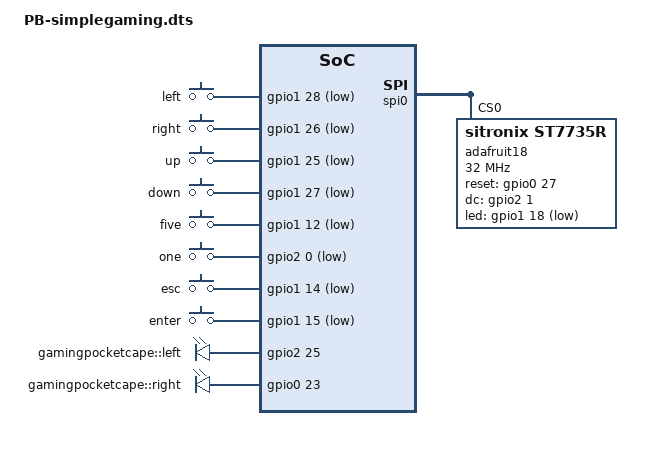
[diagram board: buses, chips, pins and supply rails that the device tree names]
/*
 * Copyright (C) 2012 Texas Instruments Incorporated - http://www.ti.com/
 *
 * This program is free software; you can redistribute it and/or modify
 * it under the terms of the GNU General Public License version 2 as
 * published by the Free Software Foundation.
 */
/dts-v1/;
/plugin/;

#include <dt-bindings/board/am335x-pb-base.h>
#include <dt-bindings/gpio/gpio.h>
#include <dt-bindings/pinctrl/am33xx.h>
#include <dt-bindings/interrupt-controller/irq.h>

/ {
	/*
	 * Free up the pins used by the cape from the pinmux helpers.
	 */
	fragment@0 {
		target = <&ocp>;
		__overlay__ {
			P1_04_pinmux { status = "disabled"; };	/* LEDs - left */
			P1_08_pinmux { status = "disabled"; };	/* LCD - SCLK */
			P1_10_pinmux { status = "disabled"; };	/* LCD - MOSI? */
			P1_12_pinmux { status = "disabled"; };	/* LCD - MISO? */
			P2_01_pinmux { status = "disabled"; };	/* LCD - LED */
			P2_02_pinmux { status = "disabled"; };	/* keys - down */
			P2_03_pinmux { status = "disabled"; };	/* LEDs - right */
			P2_04_pinmux { status = "disabled"; };	/* keys - right */
			P2_06_pinmux { status = "disabled"; };	/* keys - up */
	 		P2_08_pinmux { status = "disabled"; };	/* keys - left */
			P2_17_pinmux { status = "disabled"; };	/* LCD - DC */
			P2_18_pinmux { status = "disabled"; };	/* keys - enter */
			P2_19_pinmux { status = "disabled"; };	/* LCD - RST */
			P2_20_pinmux { status = "disabled"; };	/* keys - one */
			P2_22_pinmux { status = "disabled"; };	/* keys - esc */
			P2_24_pinmux { status = "disabled"; };	/* keys - five */
		};
	};

	/*
	 * Free up the SPI port used by the cape and reallocate it for the LCD.
	 */
	fragment@1 {
		target = <&spi0>;
		__overlay__ {
			status = "okay";

			channel@0 {
				status = "disabled";
			};
			channel@1 {
				status = "disabled";
			};

			adafruit18: adafruit18@0{
				compatible = "sitronix,st7735r";
				pinctrl-names = "default";
				pinctrl-0 = <
					&P1_06_spi_cs_pin 	/* CS */
					&P1_08_spi_sclk_pin 	/* SCLK */
					&P1_10_spi_pin 		/* D0 (MOSI?) */
					&P1_12_spi_pin 		/* D1 (MISO?) */
					&P2_19_gpio_pin		/* RST */
					&P2_17_gpio_pin		/* DC */
					&P2_01_gpio_pin		/* LED */
				>;
				reg = <0>;
				buswidth = <8>;
				reset-gpios = <&gpio0 27 0>;
				dc-gpios = <&gpio2 1 0>;
				led-gpios = <&gpio1 18 1>;
				debug = <1>;
				spi-max-frequency = <32000000>;
				rotate = <0>;
				bgr;
				fps = <30>;
			};
		};
	};
	
	/*
	 * Load the drivers for the buttons and LEDs.
	 */
	fragment@2 {
		target-path="/";
		__overlay__ {

			gpio-keys {
				compatible = "gpio-keys";
				autorepeat;

				pinctrl-names = "default";
				pinctrl-0 = <
					&P2_02_gpio_pu_pin	/* down */
					&P2_04_gpio_pu_pin	/* right */
					&P2_06_gpio_pu_pin	/* up */
					&P2_08_gpio_pu_pin	/* left */
					&P2_18_gpio_pu_pin	/* enter */
					&P2_20_gpio_pu_pin	/* one */
					&P2_22_gpio_pu_pin	/* esc */
					&P2_24_gpio_pu_pin	/* five */
				>;
		
				left {
					label = "left";
					linux,code = <105>;
					gpios = <&gpio1 28 GPIO_ACTIVE_LOW>;
				};
		
				right {
					label = "right";
					linux,code = <106>;
					gpios = <&gpio1 26 GPIO_ACTIVE_LOW>;
				};
		
				up {
					label = "up";
					linux,code = <103>;
					gpios = <&gpio1 25 GPIO_ACTIVE_LOW>;
				};
		
				down {
					label = "down";
					linux,code = <108>;
					gpios = <&gpio1 27 GPIO_ACTIVE_LOW>;
				};
		
				five {
					label = "five";
					linux,code = <6>;
					gpios = <&gpio1 12 GPIO_ACTIVE_LOW>;
				};
		
				one {
					label = "one";
					linux,code = <2>;
					gpios = <&gpio2 0 GPIO_ACTIVE_LOW>;
				};
		
				esc {
					label = "esc";
					linux,code = <1>;
					gpios = <&gpio1 14 GPIO_ACTIVE_LOW>;
				};
		
				enter {
					label = "enter";
					linux,code = <28>;
					gpios = <&gpio1 15 GPIO_ACTIVE_LOW>;
				};
			};
		
			capeleds {
				compatible = "gpio-leds";
		
				pinctrl-names = "default";
				pinctrl-0 = <
					&P1_04_gpio_pin	/* left */
					&P2_03_gpio_pin	/* right */
				>;
		
				led@1 {
					label = "gamingpocketcape::left";
					gpios = <&gpio2 25 GPIO_ACTIVE_HIGH>;
					default-state = "off";
				};
		
				led@2 {
					label = "gamingpocketcape::right";
					gpios = <&gpio0 23 GPIO_ACTIVE_HIGH>;
					default-state = "off";
				};
			};
		};
	};
};
						
